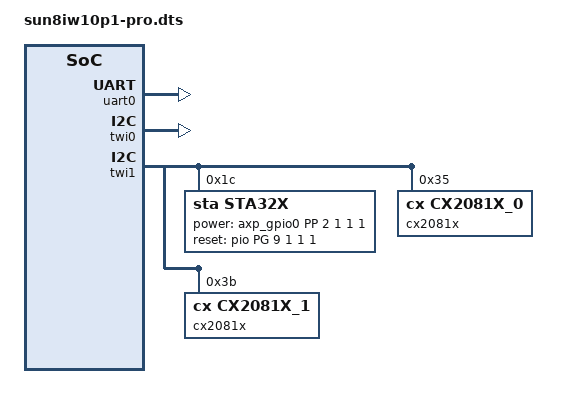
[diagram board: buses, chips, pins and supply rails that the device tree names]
/*
 * Allwinner Technology CO., Ltd. sun50iw2p1 pro board.
 *
 * pro board support.
 */

/dts-v1/;

#include "sun8iw10p1.dtsi"

/{

	soc@01c00000 {
		uart0: uart@01c28000 {
			status = "okay";
		};

		twi0: twi@0x01c2ac00 {
			status = "okay";
		};

		twi1: twi@0x01c2b000 {
			status = "okay";
			sta32x@1c{
				compatible = "sta,sta32x";
				reg = <0x1c>;
				power_gpio = <&axp_gpio0 PP 2 1 1 1 1>;
				gpio-reset = <&pio PG 9 1 1 1 1>;
                        };
			cx2081x@35{
				compatible = "cx,cx2081x_0";
				reg = <0x35>;
			};
			cx2081x@3b{
				compatible = "cx,cx2081x_1";
				reg = <0x3b>;
				voltage_enable = "audio-33";
			};
		};
	};
};
